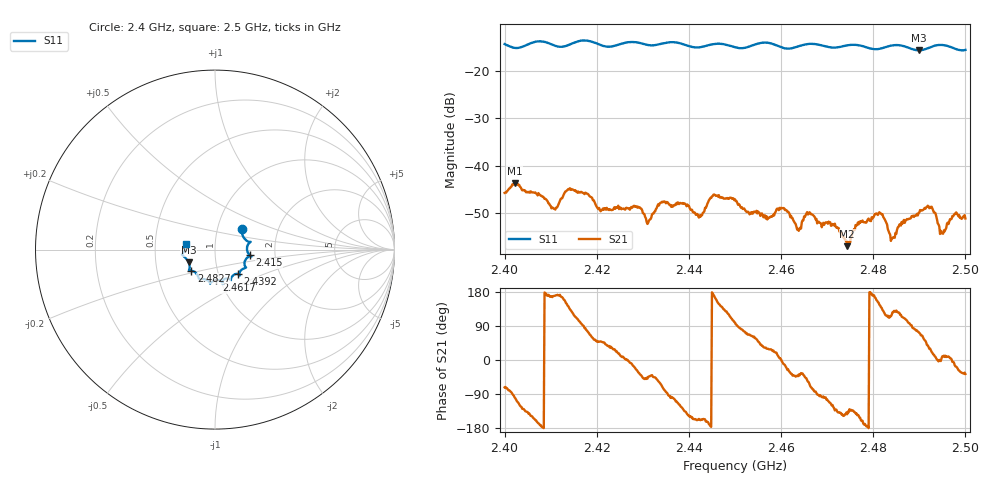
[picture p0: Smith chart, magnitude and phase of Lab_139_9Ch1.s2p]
# Hz S RI R 50
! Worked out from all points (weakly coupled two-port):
!   601 points, 2.4 GHz to 2.5 GHz, reference 50 ohm
!   highest |S21| = -43.65 dB at 2.4022 GHz (marker M1); lowest = -56.9 dB at 2.4743 GHz (marker M2)
!   lowest |S11| = -15.7 dB at 2.4898 GHz (marker M3), VSWR 1.39, Z = 36.8 - j5.4 ohm
!   |S11| at or under -10 dB: start of sweep to end of sweep
!   S12 and S22 are empty: the file has one direction only
!   S11 on the Smith chart (normalised r, x): 2.4 GHz: 1.31, +0.31; 2.415 GHz: 1.48, -0.10; 2.4392 GHz: 1.24, -0.35; 2.4617 GHz: 0.96, -0.34; 2.4827 GHz: 0.75, -0.18; 2.5 GHz: 0.72, +0.05
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2.4e9  0.1513 0.1153  0.00158 -0.00494  0 0  0 0
2.402167e9  0.1538 0.0804  -0.00101 -0.00649  0 0  0 0
2.410667e9  0.183 0.0267  -0.00347 0.000673  0 0  0 0
2.415e9  0.1934 -0.0318  -0.00268 0.00484  0 0  0 0
2.416667e9  0.2034 -0.0385  -0.000521 0.00529  0 0  0 0
2.431167e9  0.1485 -0.1117  0.00181 -0.00177  0 0  0 0
2.433333e9  0.1361 -0.1302  0.00223 -0.00325  0 0  0 0
2.439167e9  0.1281 -0.1355  -0.00286 -0.00278  0 0  0 0
2.442333e9  0.0982 -0.1462  -0.00279 -0.00115  0 0  0 0
2.445167e9  0.0881 -0.1677  -0.00479 0.000374  0 0  0 0
2.45e9  0.0711 -0.1613  -0.000673 0.00439  0 0  0 0
2.461667e9  0.00822 -0.1702  0.00283 -0.00157  0 0  0 0
2.463833e9  -0.0189 -0.1797  0.00163 -0.00128  0 0  0 0
2.466667e9  -0.027 -0.1896  0.000861 -0.00297  0 0  0 0
2.474333e9  -0.0818 -0.1651  -0.00114 -0.000854  0 0  0 0
2.477167e9  -0.0908 -0.1598  -0.00223 -0.00115  0 0  0 0
2.482667e9  -0.1319 -0.1174  -0.00124 0.00231  0 0  0 0
2.483333e9  -0.1377 -0.1169  -0.000773 0.0019  0 0  0 0
2.489833e9  -0.147 -0.0714  0.000876 0.00306  0 0  0 0
2.492333e9  -0.1713 -0.0398  0.0032 0.00186  0 0  0 0
2.495e9  -0.1843 -0.0274  0.00191 0.00033  0 0  0 0
2.5e9  -0.162 0.0315  0.00224 -0.00168  0 0  0 0
